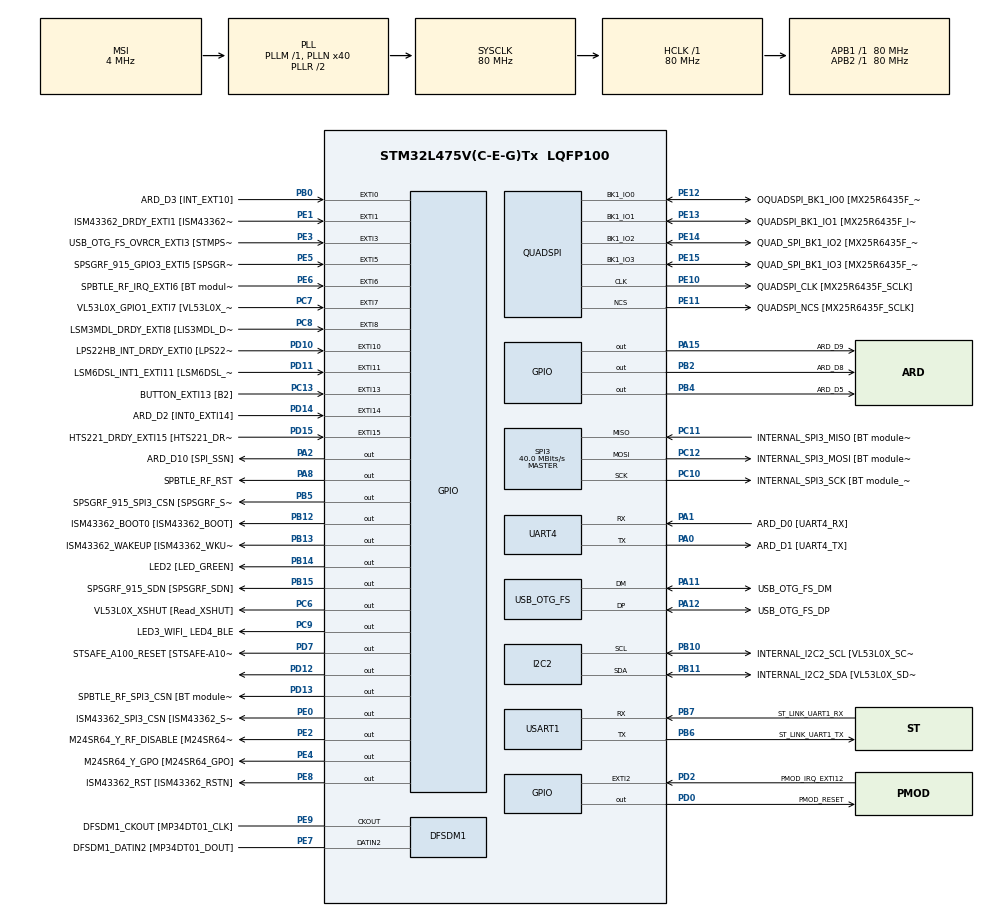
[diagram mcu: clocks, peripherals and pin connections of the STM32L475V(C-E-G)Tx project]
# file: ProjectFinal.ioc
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FREERTOS.BinarySemaphores01=mySem01,Dynamic,NULL,Depleted
FREERTOS.Queues01=StateQueue,16,uint32_t,0,Dynamic,NULL,NULL
FREERTOS.Tasks01=defaultTask,24,250,StartDefaultTask,Default,NULL,Dynamic,NULL,NULL;HandlerTask1,24,180,vHandlerTask,Default,NULL,Dynamic,NULL,NULL;ArmedTask,32,512,StartArmed,Default,NULL,Dynamic,NULL,NULL;AlarmTask,47,512,StartAlarm,Default,NULL,Dynamic,NULL,NULL
FREERTOS.configTOTAL_HEAP_SIZE=9000
Mcu.Family=STM32L4
Mcu.Name=STM32L475V(C-E-G)Tx
Mcu.Package=LQFP100
NVIC.EXTI15_10_IRQn=true\:5\:0\:false\:false\:true\:true\:true\:true\:true
NVIC.EXTI1_IRQn=true\:5\:0\:false\:false\:true\:true\:true\:true\:true
NVIC.EXTI9_5_IRQn=true\:5\:0\:false\:false\:true\:true\:true\:true\:true
NVIC.PriorityGroup=NVIC_PRIORITYGROUP_4
NVIC.TIM1_UP_TIM16_IRQn=true\:5\:0\:false\:false\:true\:true\:true\:true\:true
NVIC.TIM6_DAC_IRQn=true\:15\:0\:false\:false\:true\:false\:false\:true\:true
NVIC.TimeBase=TIM6_DAC_IRQn
NVIC.TimeBaseIP=TIM6
NVIC.USART1_IRQn=true\:5\:0\:false\:false\:true\:true\:true\:true\:true
PA0.GPIO_Label=ARD_D1 [UART4_TX]
PA0.Mode=Asynchronous
PA0.Signal=UART4_TX
PA1.GPIO_Label=ARD_D0 [UART4_RX]
PA1.Mode=Asynchronous
PA1.Signal=UART4_RX
PA10.GPIO_Label=USB_OTG_FS_ID
PA10.Signal=USB_OTG_FS_ID
PA11.GPIO_Label=USB_OTG_FS_DM
PA11.Mode=Device_Only
PA11.Signal=USB_OTG_FS_DM
PA12.GPIO_Label=USB_OTG_FS_DP
PA12.Mode=Device_Only
PA12.Signal=USB_OTG_FS_DP
PA13\ (JTMS-SWDIO).GPIO_Label=SYS_JTMS_SWDIO
PA13\ (JTMS-SWDIO).Mode=Trace_Asynchronous_SW
PA13\ (JTMS-SWDIO).Signal=SYS_JTMS-SWDIO
PA14\ (JTCK-SWCLK).GPIO_Label=SYS_JTCK_SWCLK
PA14\ (JTCK-SWCLK).Mode=Trace_Asynchronous_SW
PA14\ (JTCK-SWCLK).Signal=SYS_JTCK-SWCLK
PA15\ (JTDI).GPIO_Label=ARD_D9
PA15\ (JTDI).Signal=GPIO_Output
PA2.GPIO_Label=ARD_D10 [SPI_SSN]
PA2.Signal=GPIO_Output
PA3.GPIO_Label=ARD_D4
PA3.Signal=S_TIM2_CH4
PA4.GPIO_Label=ARD_D7
PA4.Signal=ADCx_IN9
PA5.GPIO_Label=ARD_D13 [SPI1_SCK]
PA5.Signal=SPI1_SCK
PA6.GPIO_Label=ARD_D12 [SPI1_MISO]
PA6.Signal=SPI1_MISO
PA7.GPIO_Label=ARD_D11 [SPI1_MOSI]
PA7.Signal=SPI1_MOSI
PA8.GPIO_Label=SPBTLE_RF_RST
PA8.Signal=GPIO_Output
PA9.GPIO_Label=USB_OTG_FS_VBUS [STMPS2141STR_OUT]
PA9.Signal=USB_OTG_FS_VBUS
PB0.GPIO_Label=ARD_D3 [INT_EXT10]
PB0.Signal=GPXTI0
PB1.GPIO_Label=ARD_D6 [ADC1_IN6]
PB1.Signal=ADCx_IN16
PB10.GPIO_Label=INTERNAL_I2C2_SCL [VL53L0X_SCL]
PB10.GPIO_Pu=GPIO_PULLUP
PB10.Mode=I2C
PB10.Signal=I2C2_SCL
PB11.GPIO_Label=INTERNAL_I2C2_SDA [VL53L0X_SDA]
PB11.GPIO_Pu=GPIO_PULLUP
PB11.Mode=I2C
PB11.Signal=I2C2_SDA
PB12.GPIO_Label=ISM43362_BOOT0 [ISM43362_BOOT]
PB12.Signal=GPIO_Output
PB13.GPIO_Label=ISM43362_WAKEUP [ISM43362_WKUP]
PB13.Signal=GPIO_Output
PB14.GPIO_Label=LED2 [LED_GREEN]
PB14.Signal=GPIO_Output
PB15.GPIO_Label=SPSGRF_915_SDN [SPSGRF_SDN]
PB15.Signal=GPIO_Output
PB2.GPIO_Label=ARD_D8
PB2.Signal=GPIO_Output
PB3\ (JTDO-TRACESWO).GPIO_Label=SYS_JTD0_SWO
PB3\ (JTDO-TRACESWO).Mode=Trace_Asynchronous_SW
PB3\ (JTDO-TRACESWO).Signal=SYS_JTDO-SWO
PB4\ (NJTRST).GPIO_Label=ARD_D5
PB4\ (NJTRST).Signal=GPIO_Output
PB5.GPIO_Label=SPSGRF_915_SPI3_CSN [SPSGRF_SPI_CS]
PB5.PinState=GPIO_PIN_SET
PB5.Signal=GPIO_Output
PB6.GPIO_Label=ST_LINK_UART1_TX
PB6.Mode=Asynchronous
PB6.Signal=USART1_TX
PB7.GPIO_Label=ST_LINK_UART1_RX
PB7.Mode=Asynchronous
PB7.Signal=USART1_RX
PB8.GPIO_Label=ARD_D15 [I2C1_SCL]
PB8.Signal=I2C1_SCL
PB9.GPIO_Label=ARD_D14 [I2C1_SDA]
PB9.Signal=I2C1_SDA
PC0.GPIO_Label=ARD_A5 [ADC]
PC0.Signal=ADCx_IN1
PC1.GPIO_Label=ARD_A4 [ADC]
PC1.Signal=ADCx_IN2
PC10.GPIO_Label=INTERNAL_SPI3_SCK [BT module_SPI_SCLK] [ISM43362_SCK]
PC10.Mode=Full_Duplex_Master
PC10.Signal=SPI3_SCK
PC11.GPIO_Label=INTERNAL_SPI3_MISO [BT module_SPI_MISO] [ISM43362_MISO]
PC11.Mode=Full_Duplex_Master
PC11.Signal=SPI3_MISO
PC12.GPIO_Label=INTERNAL_SPI3_MOSI [BT module_SPI_MOSI] [ISM43362_MOSI]
PC12.Mode=Full_Duplex_Master
PC12.Signal=SPI3_MOSI
PC13.GPIO_Label=BUTTON_EXTI13 [B2]
PC13.GPIO_ModeDefaultEXTI=GPIO_MODE_IT_FALLING
PC13.Signal=GPXTI13
PC14-OSC32_IN\ (PC14).Mode=LSE-External-Oscillator
PC14-OSC32_IN\ (PC14).Signal=RCC_OSC32_IN
PC15-OSC32_OUT\ (PC15).Mode=LSE-External-Oscillator
PC15-OSC32_OUT\ (PC15).Signal=RCC_OSC32_OUT
PC2.GPIO_Label=ARD_A3 [ADC]
PC2.Signal=ADCx_IN3
PC3.GPIO_Label=ARD_A2 [ADC]
PC3.Signal=ADCx_IN4
PC4.GPIO_Label=ARD_A1 [ADC]
PC4.Signal=ADCx_IN13
PC5.GPIO_Label=ARD_A0 [ADC]
PC5.Signal=ADCx_IN14
PC6.GPIO_Label=VL53L0X_XSHUT [Read_XSHUT]
PC6.Signal=GPIO_Output
PC7.GPIO_Label=VL53L0X_GPIO1_EXTI7 [VL53L0X_GPIO1]
PC7.Signal=GPXTI7
PC8.GPIO_Label=LSM3MDL_DRDY_EXTI8 [LIS3MDL_DRDY]
PC8.Signal=GPXTI8
PC9.GPIO_Label=LED3_WIFI_ LED4_BLE
PC9.Signal=GPIO_Output
PD0.GPIO_Label=PMOD_RESET
PD0.Signal=GPIO_Output
PD1.GPIO_Label=PMOD_SPI2_SCK
PD1.Signal=SPI2_SCK
PD10.GPIO_Label=LPS22HB_INT_DRDY_EXTI0 [LPS22HB_INT_DRDY] 
PD10.Signal=GPXTI10
PD11.GPIO_Label=LSM6DSL_INT1_EXTI11 [LSM6DSL_INT1]
PD11.Signal=GPXTI11
PD12.Signal=GPIO_Output
PD13.GPIO_Label=SPBTLE_RF_SPI3_CSN [BT module_SPI_CS]
PD13.PinState=GPIO_PIN_SET
PD13.Signal=GPIO_Output
PD14.GPIO_Label=ARD_D2 [INT0_EXTI14]
PD14.Signal=GPXTI14
PD15.GPIO_Label=HTS221_DRDY_EXTI15 [HTS221_DRDY]
PD15.Signal=GPXTI15
PD2.GPIO_Label=PMOD_IRQ_EXTI12
PD2.Signal=GPXTI2
PD3.GPIO_Label=PMOD_UART2_CTS
PD3.Signal=USART2_CTS
PD4.GPIO_Label=PMOD_UART2_RTS
PD4.Signal=USART2_RTS
PD5.GPIO_Label=PMOD_UART2_TX
PD5.Signal=USART2_TX
PD6.GPIO_Label=PMOD_UART2_RX
PD6.Signal=USART2_RX
PD7.GPIO_Label=STSAFE_A100_RESET [STSAFE-A100_RESET]
PD7.Signal=GPIO_Output
PD8.GPIO_Label=INTERNAL_UART3_TX [ISM43362_RX]
PD8.Signal=USART3_TX
PD9.GPIO_Label=INTERNAL_UART3_RX [ISM43362_TX]
PD9.Signal=USART3_RX
PE0.GPIO_Label=ISM43362_SPI3_CSN [ISM43362_SSN]
PE0.PinState=GPIO_PIN_SET
PE0.Signal=GPIO_Output
PE1.GPIO_Label=ISM43362_DRDY_EXTI1 [ISM43362_DATARDY]
PE1.Signal=GPXTI1
PE10.GPIO_Label=QUADSPI_CLK [MX25R6435F_SCLK]
PE10.Mode=Single Bank
PE10.Signal=QUADSPI_CLK
PE11.GPIO_Label=QUADSPI_NCS [MX25R6435F_SCLK]
PE11.Mode=Single Bank
PE11.Signal=QUADSPI_NCS
PE12.GPIO_Label=OQUADSPI_BK1_IO0 [MX25R6435F_IO0]
PE12.Mode=Single Bank
PE12.Signal=QUADSPI_BK1_IO0
PE13.GPIO_Label=QUADSPI_BK1_IO1 [MX25R6435F_IO1]
PE13.Mode=Single Bank
PE13.Signal=QUADSPI_BK1_IO1
PE14.GPIO_Label=QUAD_SPI_BK1_IO2 [MX25R6435F_IO2]
PE14.Mode=Single Bank
PE14.Signal=QUADSPI_BK1_IO2
PE15.GPIO_Label=QUAD_SPI_BK1_IO3 [MX25R6435F_IO3]
PE15.Mode=Single Bank
PE15.Signal=QUADSPI_BK1_IO3
PE2.GPIO_Label=M24SR64_Y_RF_DISABLE [M24SR64_RFDIS]
PE2.Signal=GPIO_Output
PE3.GPIO_Label=USB_OTG_FS_OVRCR_EXTI3 [STMPS2141STR_FAULT]
PE3.Signal=GPXTI3
PE4.GPIO_Label=M24SR64_Y_GPO [M24SR64_GPO]
PE4.Signal=GPIO_Output
PE5.GPIO_Label=SPSGRF_915_GPIO3_EXTI5 [SPSGRF_GPIO_3]
PE5.Signal=GPXTI5
PE6.GPIO_Label=SPBTLE_RF_IRQ_EXTI6 [BT module_SPI_IRQ]
PE6.Signal=GPXTI6
PE7.GPIO_Label=DFSDM1_DATIN2 [MP34DT01_DOUT]
PE7.Signal=S_DATAIN2DFSDM1
PE8.GPIO_Label=ISM43362_RST [ISM43362_RSTN]
PE8.Signal=GPIO_Output
PE9.GPIO_Label=DFSDM1_CKOUT [MP34DT01_CLK]
PE9.Signal=S_CKOUTDFSDM1
ProjectManager.HeapSize=0x200
ProjectManager.StackSize=0x400
ProjectManager.TargetToolchain=STM32CubeIDE
QUADSPI.ClockPrescaler=2
QUADSPI.FifoThreshold=4
QUADSPI.FlashSize=23
QUADSPI.SampleShifting=QSPI_SAMPLE_SHIFTING_HALFCYCLE
RCC.ADCFreq_Value=48000000
RCC.AHBFreq_Value=80000000
RCC.APB1Freq_Value=80000000
RCC.APB1TimFreq_Value=80000000
RCC.APB2Freq_Value=80000000
RCC.APB2TimFreq_Value=80000000
RCC.CortexFreq_Value=80000000
RCC.HCLKFreq_Value=80000000
RCC.HSE_VALUE=8000000
RCC.HSI_VALUE=16000000
RCC.MSI_VALUE=4000000
RCC.PLLN=40
RCC.PLLSAI1N=24
RCC.SYSCLKFreq_VALUE=80000000
RCC.SYSCLKSource=RCC_SYSCLKSOURCE_PLLCLK
RCC.USBFreq_Value=48000000
RCC.VCOOutputFreq_Value=160000000
SH.ADCx_IN1.0=ADC1_IN1
SH.ADCx_IN13.0=ADC1_IN13
SH.ADCx_IN14.0=ADC1_IN14
SH.ADCx_IN16.0=ADC1_IN16
SH.ADCx_IN2.0=ADC1_IN2
SH.ADCx_IN3.0=ADC1_IN3
SH.ADCx_IN4.0=ADC1_IN4
SH.ADCx_IN9.0=ADC1_IN9
SH.S_CKOUTDFSDM1.0=DFSDM1_CKOUT,CKOUT
SH.S_CKOUTDFSDM1.1=DFSDM1_CKOUT,PDM_SPI_Input_from_ch12_and_Internal_Clock
SH.S_DATAIN2DFSDM1.0=DFSDM1_DATIN2,PDM_SPI_Input_from_ch12_and_Internal_Clock
SH.S_TIM2_CH4.0=TIM2_CH4
SPI3.CalculateBaudRate=40.0 MBits/s
SPI3.Direction=SPI_DIRECTION_2LINES
SPI3.Mode=SPI_MODE_MASTER
SPI3.VirtualType=VM_MASTER
TIM16.Period=10000-1
TIM16.Prescaler=8000-1
TIM4.Channel-PWM\ Generation1\ No\ Output=TIM_CHANNEL_1
TIM4.Period=10000-1
TIM4.Prescaler=8000-1
USART1.VirtualMode-Asynchronous=VM_ASYNC
USB_OTG_FS.VirtualMode=Device_Only
VP_FREERTOS_VS_CMSIS_V2.Mode=CMSIS_V2
VP_SYS_VS_tim6.Mode=TIM6
VP_TIM16_VS_ClockSourceINT.Mode=Enable_Timer
VP_TIM4_VS_no_output1.Mode=PWM Generation1 No Output
board=B-L475E-IOT01A1

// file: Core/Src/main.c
/* USER CODE BEGIN Header */
/**
  ******************************************************************************
  * @file           : main.c
  * @brief          : Main program body
  ******************************************************************************
  * @attention
  *
  * Copyright (c) 2024 STMicroelectronics.
  * All rights reserved.
  *
  * This software is licensed under terms that can be found in the LICENSE file
  * in the root directory of this software component.
  * If no LICENSE file comes with this software, it is provided AS-IS.
  *
  ******************************************************************************
  */
/* USER CODE END Header */
#include "main.h"
#include "cmsis_os.h"

/* USER CODE BEGIN Includes */
#include "semphr.h"
#include "queue.h"
#include "stm32l475e_iot01_hsensor.h"
#include "stm32l475e_iot01_tsensor.h"
#include "stm32l475e_iot01_accelero.h"
#include <stdio.h>
#include <stdlib.h>
#include <stdint.h>
#include <math.h>
#include <string.h>
/* USER CODE END Includes */

DFSDM_Channel_HandleTypeDef hdfsdm1_channel1;

I2C_HandleTypeDef hi2c2;

QSPI_HandleTypeDef hqspi;

SPI_HandleTypeDef hspi3;

TIM_HandleTypeDef htim4;
TIM_HandleTypeDef htim16;

UART_HandleTypeDef huart4;
UART_HandleTypeDef huart1;

PCD_HandleTypeDef hpcd_USB_OTG_FS;

/* Definitions for defaultTask */
osThreadId_t defaultTaskHandle;
const osThreadAttr_t defaultTask_attributes = {
  .name = "defaultTask",
  .stack_size = 250 * 4,
  .priority = (osPriority_t) osPriorityNormal,
};
/* Definitions for HandlerTask1 */
osThreadId_t HandlerTask1Handle;
const osThreadAttr_t HandlerTask1_attributes = {
  .name = "HandlerTask1",
  .stack_size = 180 * 4,
  .priority = (osPriority_t) osPriorityNormal,
};
/* Definitions for ArmedTask */
osThreadId_t ArmedTaskHandle;
const osThreadAttr_t ArmedTask_attributes = {
  .name = "ArmedTask",
  .stack_size = 512 * 4,
  .priority = (osPriority_t) osPriorityAboveNormal,
};
/* Definitions for AlarmTask */
osThreadId_t AlarmTaskHandle;
const osThreadAttr_t AlarmTask_attributes = {
  .name = "AlarmTask",
  .stack_size = 512 * 4,
  .priority = (osPriority_t) osPriorityHigh7,
};
/* Definitions for StateQueue */
osMessageQueueId_t StateQueueHandle;
const osMessageQueueAttr_t StateQueue_attributes = {
  .name = "StateQueue"
};
/* Definitions for mySem01 */
osSemaphoreId_t mySem01Handle;
const osSemaphoreAttr_t mySem01_attributes = {
  .name = "mySem01"
};
/* USER CODE BEGIN PV */
QueueHandle_t FRQueueHandle;
#define CORRECT_CODE "1234"
#define TOLERANCE 300
#define REPS 7
SemaphoreHandle_t xBinarySemaphore1; //FreeRTOS Semaphore
typedef enum {
	DISARMED,
	ARMED,
	ALARM,
	SIREN
} State;
volatile State state = DISARMED;
int16_t XYZ[3] = {0};
int16_t pDataXYZ[3] = {0};

char *ModelSet[7] = {};
char *CloneModelSet[7] = {};
ACCELERO_StatusTypeDef accStatus;
int x = 0;
int y = 0;
int z = 0;
char DisplayUART[20] = {};
uint32_t pwm_duty_cycle = 50;
uint32_t message = 1;
typedef struct {
  uint8_t Buf[32];
  uint8_t Idx;
} MsgQueue;
/* USER CODE END PV */

void SystemClock_Config(void);
static void MX_GPIO_Init(void);
static void MX_DFSDM1_Init(void);
static void MX_I2C2_Init(void);
static void MX_QUADSPI_Init(void);
static void MX_USB_OTG_FS_PCD_Init(void);
static void MX_TIM16_Init(void);
static void MX_USART1_UART_Init(void);
static void MX_SPI3_Init(void);
static void MX_UART4_Init(void);
static void MX_TIM4_Init(void);
void StartDefaultTask(void *argument);
void vHandlerTask(void *argument);
void StartArmed(void *argument);
void StartAlarm(void *argument);

/* USER CODE BEGIN PFP */
void vHandlerTask(void *pvParameters );
void ToggleState(int breachFlag);
static WIFI_Status_t SendWebPageUpdate(State myState);
/* USER CODE END PFP */

/* USER CODE BEGIN 0 */
const char* stateToString(State state) {
    switch (state) {
        case DISARMED:
            return "DISARMED";
        case ARMED:
            return "ARMED";
        case ALARM:
            return "ALARM";
        case SIREN:
        	return "SIREN";
        default:
            return "UNKNOWN";
    }
}

int _write(int file, char *ptr, int len) {
	for (int i = 0; i < len; i++) {
		ITM_SendChar((*ptr++));
	}
	return len;
}

/* Private defines -----------------------------------------------------------*/
/* Update SSID and PASSWORD with own Access point settings */
#define SSID     "The_Driving_Crooner"
#define PASSWORD "WarmDoll620!"
#define PORT           80

#define TERMINAL_USE

#define WIFI_WRITE_TIMEOUT 10000
#define WIFI_READ_TIMEOUT  10000
#define SOCKET                 0

#ifdef  TERMINAL_USE
#define LOG(a) printf a
#else
#define LOG(a)
#endif

/* Private typedef------------------------------------------------------------*/
/* Private macro -------------------------------------------------------------*/
/* Private variables ---------------------------------------------------------*/
//#if defined (TERMINAL_USE)
// UART_HandleTypeDef huart1;
//#endif /* TERMINAL_USE */

static  uint8_t http[1024];
static  uint8_t  IP_Addr[4];
static  int     LedState = 0;

/* Private function prototypes -----------------------------------------------*/
#if defined (TERMINAL_USE)
#ifdef __GNUC__
/* With GCC, small printf (option LD Linker->Libraries->Small printf
   set to 'Yes') calls __io_putchar() */
#define PUTCHAR_PROTOTYPE int __io_putchar(int ch)
#else
#define PUTCHAR_PROTOTYPE int fputc(int ch, FILE *f)
#endif /* __GNUC__ */
#endif /* TERMINAL_USE */

//void SystemClock_Config(void);
static  WIFI_Status_t SendWebPage(uint8_t ledIsOn, uint8_t temperature);
static  int wifi_server(void);
static  int wifi_start(void);
static  int wifi_connect(void);
static  bool WebServerProcess(void);
static 	bool WebServerProcessUpdate(void);

/* USER CODE END 0 */

int main(void)
{

  /* MCU Configuration--------------------------------------------------------*/

  /* Reset of all peripherals, Initializes the Flash interface and the Systick. */
  HAL_Init();

  /* Configure the system clock */
  SystemClock_Config();

  /* Initialize all configured peripherals */
  MX_GPIO_Init();
  MX_DFSDM1_Init();
  MX_I2C2_Init();
  MX_QUADSPI_Init();
  MX_USB_OTG_FS_PCD_Init();
  MX_TIM16_Init();
  MX_USART1_UART_Init();
  MX_SPI3_Init();
  MX_UART4_Init();
  MX_TIM4_Init();
  /* USER CODE BEGIN 2 */
  HAL_TIM_Base_Start_IT(&htim16);
  BSP_ACCELERO_Init();

  /* USER CODE END 2 */

  /* Init scheduler */
  osKernelInitialize();

  /* Create the semaphores(s) */
  /* creation of mySem01 */
  mySem01Handle = osSemaphoreNew(1, 0, &mySem01_attributes);

  /* USER CODE BEGIN RTOS_SEMAPHORES */
  /* add semaphores, ... */
  if (mySem01Handle == NULL) {
      printf("Semaphore creation failed!\n");
  }
  xBinarySemaphore1 = xSemaphoreCreateBinary();
  if (xBinarySemaphore1 == NULL) {
          printf("Semaphore creation failed!\n");
  }
  /* USER CODE END RTOS_SEMAPHORES */

  /* Create the queue(s) */
  /* creation of StateQueue */
  StateQueueHandle = osMessageQueueNew (16, sizeof(MsgQueue), &StateQueue_attributes);

  /* USER CODE BEGIN RTOS_QUEUES */
  /* add queues, ... */
  FRQueueHandle = xQueueCreate(10, sizeof(unsigned long));
      if (FRQueueHandle == NULL) {
          // Error handling if the queue creation fails
          printf("Error: Queue creation failed!\n");
          while(1); // Hang here to check the issue
      }
  /* USER CODE END RTOS_QUEUES */

  /* Create the thread(s) */
  /* creation of defaultTask */
  defaultTaskHandle = osThreadNew(StartDefaultTask, NULL, &defaultTask_attributes);

  /* creation of HandlerTask1 */
  HandlerTask1Handle = osThreadNew(vHandlerTask, NULL, &HandlerTask1_attributes);

  /* creation of ArmedTask */
  ArmedTaskHandle = osThreadNew(StartArmed, NULL, &ArmedTask_attributes);

  /* creation of AlarmTask */
  AlarmTaskHandle = osThreadNew(StartAlarm, NULL, &AlarmTask_attributes);

  /* Start scheduler */
  osKernelStart();

  /* We should never get here as control is now taken by the scheduler */

  /* Infinite loop */
  while (1)
  {

  }
}

void SystemClock_Config(void)
{
  RCC_OscInitTypeDef RCC_OscInitStruct = {0};
  RCC_ClkInitTypeDef RCC_ClkInitStruct = {0};

  /** Configure the main internal regulator output voltage
  */
  if (HAL_PWREx_ControlVoltageScaling(PWR_REGULATOR_VOLTAGE_SCALE1) != HAL_OK)
  {
    Error_Handler();
  }

  /** Configure LSE Drive Capability
  */
  HAL_PWR_EnableBkUpAccess();
  __HAL_RCC_LSEDRIVE_CONFIG(RCC_LSEDRIVE_LOW);

  /** Initializes the RCC Oscillators according to the specified parameters
  * in the RCC_OscInitTypeDef structure.
  */
  RCC_OscInitStruct.OscillatorType = RCC_OSCILLATORTYPE_LSE|RCC_OSCILLATORTYPE_MSI;
  RCC_OscInitStruct.LSEState = RCC_LSE_ON;
  RCC_OscInitStruct.MSIState = RCC_MSI_ON;
  RCC_OscInitStruct.MSICalibrationValue = 0;
  RCC_OscInitStruct.MSIClockRange = RCC_MSIRANGE_6;
  RCC_OscInitStruct.PLL.PLLState = RCC_PLL_ON;
  RCC_OscInitStruct.PLL.PLLSource = RCC_PLLSOURCE_MSI;
  RCC_OscInitStruct.PLL.PLLM = 1;
  RCC_OscInitStruct.PLL.PLLN = 40;
  RCC_OscInitStruct.PLL.PLLP = RCC_PLLP_DIV7;
  RCC_OscInitStruct.PLL.PLLQ = RCC_PLLQ_DIV2;
  RCC_OscInitStruct.PLL.PLLR = RCC_PLLR_DIV2;
  if (HAL_RCC_OscConfig(&RCC_OscInitStruct) != HAL_OK)
  {
    Error_Handler();
  }

  /** Initializes the CPU, AHB and APB buses clocks
  */
  RCC_ClkInitStruct.ClockType = RCC_CLOCKTYPE_HCLK|RCC_CLOCKTYPE_SYSCLK
                              |RCC_CLOCKTYPE_PCLK1|RCC_CLOCKTYPE_PCLK2;
  RCC_ClkInitStruct.SYSCLKSource = RCC_SYSCLKSOURCE_PLLCLK;
  RCC_ClkInitStruct.AHBCLKDivider = RCC_SYSCLK_DIV1;
  RCC_ClkInitStruct.APB1CLKDivider = RCC_HCLK_DIV1;
  RCC_ClkInitStruct.APB2CLKDivider = RCC_HCLK_DIV1;

  if (HAL_RCC_ClockConfig(&RCC_ClkInitStruct, FLASH_LATENCY_4) != HAL_OK)
  {
    Error_Handler();
  }

  /** Enable MSI Auto calibration
  */
  HAL_RCCEx_EnableMSIPLLMode();
}

static void MX_DFSDM1_Init(void)
{

  hdfsdm1_channel1.Instance = DFSDM1_Channel1;
  hdfsdm1_channel1.Init.OutputClock.Activation = ENABLE;
  hdfsdm1_channel1.Init.OutputClock.Selection = DFSDM_CHANNEL_OUTPUT_CLOCK_SYSTEM;
  hdfsdm1_channel1.Init.OutputClock.Divider = 2;
  hdfsdm1_channel1.Init.Input.Multiplexer = DFSDM_CHANNEL_EXTERNAL_INPUTS;
  hdfsdm1_channel1.Init.Input.DataPacking = DFSDM_CHANNEL_STANDARD_MODE;
  hdfsdm1_channel1.Init.Input.Pins = DFSDM_CHANNEL_FOLLOWING_CHANNEL_PINS;
  hdfsdm1_channel1.Init.SerialInterface.Type = DFSDM_CHANNEL_SPI_RISING;
  hdfsdm1_channel1.Init.SerialInterface.SpiClock = DFSDM_CHANNEL_SPI_CLOCK_INTERNAL;
  hdfsdm1_channel1.Init.Awd.FilterOrder = DFSDM_CHANNEL_FASTSINC_ORDER;
  hdfsdm1_channel1.Init.Awd.Oversampling = 1;
  hdfsdm1_channel1.Init.Offset = 0;
  hdfsdm1_channel1.Init.RightBitShift = 0x00;
  if (HAL_DFSDM_ChannelInit(&hdfsdm1_channel1) != HAL_OK)
  {
    Error_Handler();
  }

}

static void MX_I2C2_Init(void)
{

  hi2c2.Instance = I2C2;
  hi2c2.Init.Timing = 0x00000E14;
  hi2c2.Init.OwnAddress1 = 0;
  hi2c2.Init.AddressingMode = I2C_ADDRESSINGMODE_7BIT;
  hi2c2.Init.DualAddressMode = I2C_DUALADDRESS_DISABLE;
  hi2c2.Init.OwnAddress2 = 0;
  hi2c2.Init.OwnAddress2Masks = I2C_OA2_NOMASK;
  hi2c2.Init.GeneralCallMode = I2C_GENERALCALL_DISABLE;
  hi2c2.Init.NoStretchMode = I2C_NOSTRETCH_DISABLE;
  if (HAL_I2C_Init(&hi2c2) != HAL_OK)
  {
    Error_Handler();
  }

  /** Configure Analogue filter
  */
  if (HAL_I2CEx_ConfigAnalogFilter(&hi2c2, I2C_ANALOGFILTER_ENABLE) != HAL_OK)
  {
    Error_Handler();
  }

  /** Configure Digital filter
  */
  if (HAL_I2CEx_ConfigDigitalFilter(&hi2c2, 0) != HAL_OK)
  {
    Error_Handler();
  }

}

static void MX_QUADSPI_Init(void)
{

  /* QUADSPI parameter configuration*/
  hqspi.Instance = QUADSPI;
  hqspi.Init.ClockPrescaler = 2;
  hqspi.Init.FifoThreshold = 4;
  hqspi.Init.SampleShifting = QSPI_SAMPLE_SHIFTING_HALFCYCLE;
  hqspi.Init.FlashSize = 23;
  hqspi.Init.ChipSelectHighTime = QSPI_CS_HIGH_TIME_1_CYCLE;
  hqspi.Init.ClockMode = QSPI_CLOCK_MODE_0;
  if (HAL_QSPI_Init(&hqspi) != HAL_OK)
  {
    Error_Handler();
  }

}

static void MX_SPI3_Init(void)
{

  /* SPI3 parameter configuration*/
  hspi3.Instance = SPI3;
  hspi3.Init.Mode = SPI_MODE_MASTER;
  hspi3.Init.Direction = SPI_DIRECTION_2LINES;
  hspi3.Init.DataSize = SPI_DATASIZE_4BIT;
  hspi3.Init.CLKPolarity = SPI_POLARITY_LOW;
  hspi3.Init.CLKPhase = SPI_PHASE_1EDGE;
  hspi3.Init.NSS = SPI_NSS_SOFT;
  hspi3.Init.BaudRatePrescaler = SPI_BAUDRATEPRESCALER_2;
  hspi3.Init.FirstBit = SPI_FIRSTBIT_MSB;
  hspi3.Init.TIMode = SPI_TIMODE_DISABLE;
  hspi3.Init.CRCCalculation = SPI_CRCCALCULATION_DISABLE;
  hspi3.Init.CRCPolynomial = 7;
  hspi3.Init.CRCLength = SPI_CRC_LENGTH_DATASIZE;
  hspi3.Init.NSSPMode = SPI_NSS_PULSE_ENABLE;
  if (HAL_SPI_Init(&hspi3) != HAL_OK)
  {
    Error_Handler();
  }

}

static void MX_TIM4_Init(void)
{

  TIM_MasterConfigTypeDef sMasterConfig = {0};
  TIM_OC_InitTypeDef sConfigOC = {0};

  htim4.Instance = TIM4;
  htim4.Init.Prescaler = 8000-1;
  htim4.Init.CounterMode = TIM_COUNTERMODE_UP;
  htim4.Init.Period = 10000-1;
  htim4.Init.ClockDivision = TIM_CLOCKDIVISION_DIV1;
  htim4.Init.AutoReloadPreload = TIM_AUTORELOAD_PRELOAD_DISABLE;
  if (HAL_TIM_PWM_Init(&htim4) != HAL_OK)
  {
    Error_Handler();
  }
  sMasterConfig.MasterOutputTrigger = TIM_TRGO_RESET;
  sMasterConfig.MasterSlaveMode = TIM_MASTERSLAVEMODE_DISABLE;
  if (HAL_TIMEx_MasterConfigSynchronization(&htim4, &sMasterConfig) != HAL_OK)
  {
    Error_Handler();
  }
  sConfigOC.OCMode = TIM_OCMODE_PWM1;
  sConfigOC.Pulse = 0;
  sConfigOC.OCPolarity = TIM_OCPOLARITY_HIGH;
  sConfigOC.OCFastMode = TIM_OCFAST_DISABLE;
  if (HAL_TIM_PWM_ConfigChannel(&htim4, &sConfigOC, TIM_CHANNEL_1) != HAL_OK)
  {
    Error_Handler();
  }

}

static void MX_TIM16_Init(void)
{

  htim16.Instance = TIM16;
  htim16.Init.Prescaler = 8000-1;
  htim16.Init.CounterMode = TIM_COUNTERMODE_UP;
  htim16.Init.Period = 10000-1;
  htim16.Init.ClockDivision = TIM_CLOCKDIVISION_DIV1;
  htim16.Init.RepetitionCounter = 0;
  htim16.Init.AutoReloadPreload = TIM_AUTORELOAD_PRELOAD_DISABLE;
  if (HAL_TIM_Base_Init(&htim16) != HAL_OK)
  {
    Error_Handler();
  }

}

static void MX_UART4_Init(void)
{

  huart4.Instance = UART4;
  huart4.Init.BaudRate = 115200;
  huart4.Init.WordLength = UART_WORDLENGTH_8B;
  huart4.Init.StopBits = UART_STOPBITS_1;
  huart4.Init.Parity = UART_PARITY_NONE;
  huart4.Init.Mode = UART_MODE_TX_RX;
  huart4.Init.HwFlowCtl = UART_HWCONTROL_NONE;
  huart4.Init.OverSampling = UART_OVERSAMPLING_16;
  huart4.Init.OneBitSampling = UART_ONE_BIT_SAMPLE_DISABLE;
  huart4.AdvancedInit.AdvFeatureInit = UART_ADVFEATURE_NO_INIT;
  if (HAL_UART_Init(&huart4) != HAL_OK)
  {
    Error_Handler();
  }

}

static void MX_USART1_UART_Init(void)
{

  huart1.Instance = USART1;
  huart1.Init.BaudRate = 115200;
  huart1.Init.WordLength = UART_WORDLENGTH_8B;
  huart1.Init.StopBits = UART_STOPBITS_1;
  huart1.Init.Parity = UART_PARITY_NONE;
  huart1.Init.Mode = UART_MODE_TX_RX;
  huart1.Init.HwFlowCtl = UART_HWCONTROL_NONE;
  huart1.Init.OverSampling = UART_OVERSAMPLING_16;
  huart1.Init.OneBitSampling = UART_ONE_BIT_SAMPLE_DISABLE;
  huart1.AdvancedInit.AdvFeatureInit = UART_ADVFEATURE_NO_INIT;
  if (HAL_UART_Init(&huart1) != HAL_OK)
  {
    Error_Handler();
  }

}

static void MX_USB_OTG_FS_PCD_Init(void)
{

  hpcd_USB_OTG_FS.Instance = USB_OTG_FS;
  hpcd_USB_OTG_FS.Init.dev_endpoints = 6;
  hpcd_USB_OTG_FS.Init.speed = PCD_SPEED_FULL;
  hpcd_USB_OTG_FS.Init.phy_itface = PCD_PHY_EMBEDDED;
  hpcd_USB_OTG_FS.Init.Sof_enable = DISABLE;
  hpcd_USB_OTG_FS.Init.low_power_enable = DISABLE;
  hpcd_USB_OTG_FS.Init.lpm_enable = DISABLE;
  hpcd_USB_OTG_FS.Init.battery_charging_enable = DISABLE;
  hpcd_USB_OTG_FS.Init.use_dedicated_ep1 = DISABLE;
  hpcd_USB_OTG_FS.Init.vbus_sensing_enable = DISABLE;
  if (HAL_PCD_Init(&hpcd_USB_OTG_FS) != HAL_OK)
  {
    Error_Handler();
  }

}

static void MX_GPIO_Init(void)
{
  GPIO_InitTypeDef GPIO_InitStruct = {0};

  /* GPIO Ports Clock Enable */
  __HAL_RCC_GPIOE_CLK_ENABLE();
  __HAL_RCC_GPIOC_CLK_ENABLE();
  __HAL_RCC_GPIOA_CLK_ENABLE();
  __HAL_RCC_GPIOB_CLK_ENABLE();
  __HAL_RCC_GPIOD_CLK_ENABLE();

  /*Configure GPIO pin Output Level */
  HAL_GPIO_WritePin(GPIOE, M24SR64_Y_RF_DISABLE_Pin|M24SR64_Y_GPO_Pin|ISM43362_RST_Pin, GPIO_PIN_RESET);

  /*Configure GPIO pin Output Level */
  HAL_GPIO_WritePin(GPIOA, ARD_D10_Pin|SPBTLE_RF_RST_Pin|ARD_D9_Pin, GPIO_PIN_RESET);

  /*Configure GPIO pin Output Level */
  HAL_GPIO_WritePin(GPIOB, ARD_D8_Pin|ISM43362_BOOT0_Pin|ISM43362_WAKEUP_Pin|LED2_Pin
                          |SPSGRF_915_SDN_Pin|ARD_D5_Pin, GPIO_PIN_RESET);

  /*Configure GPIO pin Output Level */
  HAL_GPIO_WritePin(GPIOD, GPIO_PIN_12|PMOD_RESET_Pin|STSAFE_A100_RESET_Pin, GPIO_PIN_RESET);

  /*Configure GPIO pin Output Level */
  HAL_GPIO_WritePin(SPBTLE_RF_SPI3_CSN_GPIO_Port, SPBTLE_RF_SPI3_CSN_Pin, GPIO_PIN_SET);

  /*Configure GPIO pin Output Level */
  HAL_GPIO_WritePin(GPIOC, VL53L0X_XSHUT_Pin|LED3_WIFI__LED4_BLE_Pin, GPIO_PIN_RESET);

  /*Configure GPIO pin Output Level */
  HAL_GPIO_WritePin(SPSGRF_915_SPI3_CSN_GPIO_Port, SPSGRF_915_SPI3_CSN_Pin, GPIO_PIN_SET);

  /*Configure GPIO pin Output Level */
  HAL_GPIO_WritePin(ISM43362_SPI3_CSN_GPIO_Port, ISM43362_SPI3_CSN_Pin, GPIO_PIN_SET);

  /*Configure GPIO pins : M24SR64_Y_RF_DISABLE_Pin M24SR64_Y_GPO_Pin ISM43362_RST_Pin ISM43362_SPI3_CSN_Pin */
  GPIO_InitStruct.Pin = M24SR64_Y_RF_DISABLE_Pin|M24SR64_Y_GPO_Pin|ISM43362_RST_Pin|ISM43362_SPI3_CSN_Pin;
  GPIO_InitStruct.Mode = GPIO_MODE_OUTPUT_PP;
  GPIO_InitStruct.Pull = GPIO_NOPULL;
  GPIO_InitStruct.Speed = GPIO_SPEED_FREQ_LOW;
  HAL_GPIO_Init(GPIOE, &GPIO_InitStruct);

  /*Configure GPIO pins : USB_OTG_FS_OVRCR_EXTI3_Pin SPSGRF_915_GPIO3_EXTI5_Pin SPBTLE_RF_IRQ_EXTI6_Pin ISM43362_DRDY_EXTI1_Pin */
  GPIO_InitStruct.Pin = USB_OTG_FS_OVRCR_EXTI3_Pin|SPSGRF_915_GPIO3_EXTI5_Pin|SPBTLE_RF_IRQ_EXTI6_Pin|ISM43362_DRDY_EXTI1_Pin;
  GPIO_InitStruct.Mode = GPIO_MODE_IT_RISING;
  GPIO_InitStruct.Pull = GPIO_NOPULL;
  HAL_GPIO_Init(GPIOE, &GPIO_InitStruct);

  /*Configure GPIO pin : BUTTON_EXTI13_Pin */
  GPIO_InitStruct.Pin = BUTTON_EXTI13_Pin;
  GPIO_InitStruct.Mode = GPIO_MODE_IT_FALLING;
  GPIO_InitStruct.Pull = GPIO_NOPULL;
  HAL_GPIO_Init(BUTTON_EXTI13_GPIO_Port, &GPIO_InitStruct);

  /*Configure GPIO pins : ARD_A5_Pin ARD_A4_Pin ARD_A3_Pin ARD_A2_Pin
                           ARD_A1_Pin ARD_A0_Pin */
  GPIO_InitStruct.Pin = ARD_A5_Pin|ARD_A4_Pin|ARD_A3_Pin|ARD_A2_Pin
                          |ARD_A1_Pin|ARD_A0_Pin;
  GPIO_InitStruct.Mode = GPIO_MODE_ANALOG_ADC_CONTROL;
  GPIO_InitStruct.Pull = GPIO_NOPULL;
  HAL_GPIO_Init(GPIOC, &GPIO_InitStruct);

  /*Configure GPIO pins : ARD_D10_Pin SPBTLE_RF_RST_Pin ARD_D9_Pin */
  GPIO_InitStruct.Pin = ARD_D10_Pin|SPBTLE_RF_RST_Pin|ARD_D9_Pin;
  GPIO_InitStruct.Mode = GPIO_MODE_OUTPUT_PP;
  GPIO_InitStruct.Pull = GPIO_NOPULL;
  GPIO_InitStruct.Speed = GPIO_SPEED_FREQ_LOW;
  HAL_GPIO_Init(GPIOA, &GPIO_InitStruct);

  /*Configure GPIO pin : ARD_D4_Pin */
  GPIO_InitStruct.Pin = ARD_D4_Pin;
  GPIO_InitStruct.Mode = GPIO_MODE_AF_PP;
  GPIO_InitStruct.Pull = GPIO_NOPULL;
  GPIO_InitStruct.Speed = GPIO_SPEED_FREQ_LOW;
  GPIO_InitStruct.Alternate = GPIO_AF1_TIM2;
  HAL_GPIO_Init(ARD_D4_GPIO_Port, &GPIO_InitStruct);

  /*Configure GPIO pin : ARD_D7_Pin */
  GPIO_InitStruct.Pin = ARD_D7_Pin;
  GPIO_InitStruct.Mode = GPIO_MODE_ANALOG_ADC_CONTROL;
  GPIO_InitStruct.Pull = GPIO_NOPULL;
  HAL_GPIO_Init(ARD_D7_GPIO_Port, &GPIO_InitStruct);

  /*Configure GPIO pins : ARD_D13_Pin ARD_D12_Pin ARD_D11_Pin */
  GPIO_InitStruct.Pin = ARD_D13_Pin|ARD_D12_Pin|ARD_D11_Pin;
  GPIO_InitStruct.Mode = GPIO_MODE_AF_PP;
  GPIO_InitStruct.Pull = GPIO_NOPULL;
  GPIO_InitStruct.Speed = GPIO_SPEED_FREQ_VERY_HIGH;
  GPIO_InitStruct.Alternate = GPIO_AF5_SPI1;
  HAL_GPIO_Init(GPIOA, &GPIO_InitStruct);

  /*Configure GPIO pin : ARD_D3_Pin */
  GPIO_InitStruct.Pin = ARD_D3_Pin;
  GPIO_InitStruct.Mode = GPIO_MODE_IT_RISING;
  GPIO_InitStruct.Pull = GPIO_NOPULL;
  HAL_GPIO_Init(ARD_D3_GPIO_Port, &GPIO_InitStruct);

  /*Configure GPIO pin : ARD_D6_Pin */
  GPIO_InitStruct.Pin = ARD_D6_Pin;
  GPIO_InitStruct.Mode = GPIO_MODE_ANALOG_ADC_CONTROL;
  GPIO_InitStruct.Pull = GPIO_NOPULL;
  HAL_GPIO_Init(ARD_D6_GPIO_Port, &GPIO_InitStruct);

  /*Configure GPIO pins : ARD_D8_Pin ISM43362_BOOT0_Pin ISM43362_WAKEUP_Pin LED2_Pin
                           SPSGRF_915_SDN_Pin ARD_D5_Pin SPSGRF_915_SPI3_CSN_Pin */
  GPIO_InitStruct.Pin = ARD_D8_Pin|ISM43362_BOOT0_Pin|ISM43362_WAKEUP_Pin|LED2_Pin
                          |SPSGRF_915_SDN_Pin|ARD_D5_Pin|SPSGRF_915_SPI3_CSN_Pin;
  GPIO_InitStruct.Mode = GPIO_MODE_OUTPUT_PP;
  GPIO_InitStruct.Pull = GPIO_NOPULL;
  GPIO_InitStruct.Speed = GPIO_SPEED_FREQ_LOW;
  HAL_GPIO_Init(GPIOB, &GPIO_InitStruct);

  /*Configure GPIO pins : INTERNAL_UART3_TX_Pin INTERNAL_UART3_RX_Pin */
  GPIO_InitStruct.Pin = INTERNAL_UART3_TX_Pin|INTERNAL_UART3_RX_Pin;
  GPIO_InitStruct.Mode = GPIO_MODE_AF_PP;
  GPIO_InitStruct.Pull = GPIO_NOPULL;
  GPIO_InitStruct.Speed = GPIO_SPEED_FREQ_VERY_HIGH;
  GPIO_InitStruct.Alternate = GPIO_AF7_USART3;
  HAL_GPIO_Init(GPIOD, &GPIO_InitStruct);

  /*Configure GPIO pins : LPS22HB_INT_DRDY_EXTI0_Pin LSM6DSL_INT1_EXTI11_Pin ARD_D2_Pin HTS221_DRDY_EXTI15_Pin
                           PMOD_IRQ_EXTI12_Pin */
  GPIO_InitStruct.Pin = LPS22HB_INT_DRDY_EXTI0_Pin|LSM6DSL_INT1_EXTI11_Pin|ARD_D2_Pin|HTS221_DRDY_EXTI15_Pin
                          |PMOD_IRQ_EXTI12_Pin;
  GPIO_InitStruct.Mode = GPIO_MODE_IT_RISING;
  GPIO_InitStruct.Pull = GPIO_NOPULL;
  HAL_GPIO_Init(GPIOD, &GPIO_InitStruct);

  /*Configure GPIO pins : PD12 SPBTLE_RF_SPI3_CSN_Pin PMOD_RESET_Pin STSAFE_A100_RESET_Pin */
  GPIO_InitStruct.Pin = GPIO_PIN_12|SPBTLE_RF_SPI3_CSN_Pin|PMOD_RESET_Pin|STSAFE_A100_RESET_Pin;
  GPIO_InitStruct.Mode = GPIO_MODE_OUTPUT_PP;
  GPIO_InitStruct.Pull = GPIO_NOPULL;
  GPIO_InitStruct.Speed = GPIO_SPEED_FREQ_LOW;
  HAL_GPIO_Init(GPIOD, &GPIO_InitStruct);

  /*Configure GPIO pins : VL53L0X_XSHUT_Pin LED3_WIFI__LED4_BLE_Pin */
  GPIO_InitStruct.Pin = VL53L0X_XSHUT_Pin|LED3_WIFI__LED4_BLE_Pin;
  GPIO_InitStruct.Mode = GPIO_MODE_OUTPUT_PP;
  GPIO_InitStruct.Pull = GPIO_NOPULL;
  GPIO_InitStruct.Speed = GPIO_SPEED_FREQ_LOW;
  HAL_GPIO_Init(GPIOC, &GPIO_InitStruct);

  /*Configure GPIO pins : VL53L0X_GPIO1_EXTI7_Pin LSM3MDL_DRDY_EXTI8_Pin */
  GPIO_InitStruct.Pin = VL53L0X_GPIO1_EXTI7_Pin|LSM3MDL_DRDY_EXTI8_Pin;
  GPIO_InitStruct.Mode = GPIO_MODE_IT_RISING;
  GPIO_InitStruct.Pull = GPIO_NOPULL;
  HAL_GPIO_Init(GPIOC, &GPIO_InitStruct);

  /*Configure GPIO pin : PMOD_SPI2_SCK_Pin */
  GPIO_InitStruct.Pin = PMOD_SPI2_SCK_Pin;
  GPIO_InitStruct.Mode = GPIO_MODE_AF_PP;
  GPIO_InitStruct.Pull = GPIO_NOPULL;
  GPIO_InitStruct.Speed = GPIO_SPEED_FREQ_VERY_HIGH;
  GPIO_InitStruct.Alternate = GPIO_AF5_SPI2;
  HAL_GPIO_Init(PMOD_SPI2_SCK_GPIO_Port, &GPIO_InitStruct);

  /*Configure GPIO pins : PMOD_UART2_CTS_Pin PMOD_UART2_RTS_Pin PMOD_UART2_TX_Pin PMOD_UART2_RX_Pin */
  GPIO_InitStruct.Pin = PMOD_UART2_CTS_Pin|PMOD_UART2_RTS_Pin|PMOD_UART2_TX_Pin|PMOD_UART2_RX_Pin;
  GPIO_InitStruct.Mode = GPIO_MODE_AF_PP;
  GPIO_InitStruct.Pull = GPIO_NOPULL;
  GPIO_InitStruct.Speed = GPIO_SPEED_FREQ_VERY_HIGH;
  GPIO_InitStruct.Alternate = GPIO_AF7_USART2;
  HAL_GPIO_Init(GPIOD, &GPIO_InitStruct);

  /*Configure GPIO pins : ARD_D15_Pin ARD_D14_Pin */
  GPIO_InitStruct.Pin = ARD_D15_Pin|ARD_D14_Pin;
  GPIO_InitStruct.Mode = GPIO_MODE_AF_OD;
  GPIO_InitStruct.Pull = GPIO_NOPULL;
  GPIO_InitStruct.Speed = GPIO_SPEED_FREQ_VERY_HIGH;
  GPIO_InitStruct.Alternate = GPIO_AF4_I2C1;
  HAL_GPIO_Init(GPIOB, &GPIO_InitStruct);

  /* EXTI interrupt init*/
  HAL_NVIC_SetPriority(EXTI1_IRQn, 5, 0);
  HAL_NVIC_EnableIRQ(EXTI1_IRQn);

  HAL_NVIC_SetPriority(EXTI9_5_IRQn, 5, 0);
  HAL_NVIC_EnableIRQ(EXTI9_5_IRQn);

  HAL_NVIC_SetPriority(EXTI15_10_IRQn, 5, 0);
  HAL_NVIC_EnableIRQ(EXTI15_10_IRQn);

}

/* USER CODE BEGIN 4 */
void HAL_GPIO_EXTI_Callback(uint16_t GPIO_Pin) {
	BaseType_t xHigherPriorityTaskWoken = pdFALSE;
	uint16_t stateData = 42;
	switch (GPIO_Pin)
	  {
	    case (GPIO_PIN_1):
	    {
	      SPI_WIFI_ISR();
	      break;
	    }
	    case (GPIO_PIN_13) :
		{
	    	printf("Button Pressed...\n");
	    	osSemaphoreRelease(mySem01Handle);
	    	portYIELD_FROM_ISR(xHigherPriorityTaskWoken);
	    	break;
	    }
	    default:
	    {
	      break;
	    }
	  }
}

void ToggleState(int breachFlag) {
	taskENTER_CRITICAL();
	if (state == DISARMED) { //ARM
		state = ARMED;
		HAL_GPIO_WritePin(GPIOB, GPIO_PIN_14, 1);
		printf("ARMED\n");
		taskEXIT_CRITICAL();
		//SendWebPageUpdate(state);
		//wifi_server();
		osThreadFlagsSet(ArmedTaskHandle, 0x0001);
	}
	else if (state == ARMED && !breachFlag) { //DISARM
		state = DISARMED;
		HAL_GPIO_WritePin(GPIOB, GPIO_PIN_14, 0);
		printf("DISARMED\n");
		taskEXIT_CRITICAL();
		//wifi_server();
	}
	else if (state == ARMED && breachFlag) {
		state = ALARM;
		printf("ALARM\n");
		taskEXIT_CRITICAL();
		//wifi_server();
	}
	else if (state == ALARM && !breachFlag) { //ALARM Passed
		state = ARMED;
		printf("ARMED\n");
		taskEXIT_CRITICAL();
		//wifi_server();
		osThreadFlagsSet(ArmedTaskHandle, 0x0001);
	}
	else if (state == ALARM && breachFlag) {
		state = SIREN;
		printf("SIREN");
		taskEXIT_CRITICAL();
	}
	osDelay(1);
}

void ActivateBuzzer(void)

{
    // Initialize PWM on PA5 using TIM2 Channel 1
    TIM_OC_InitTypeDef sConfigOC = {0};
    // Configure PWM
    HAL_TIM_PWM_Start(&htim4, TIM_CHANNEL_1); // Start PWM on Channel 1 (PA5)
// Set the duty cycle to control buzzer volume (0-100%)
    taskENTER_CRITICAL();
    sConfigOC.OCMode = TIM_OCMODE_PWM1;
    sConfigOC.Pulse = pwm_duty_cycle * (htim4.Init.Period / 100); // Set duty cycle
    sConfigOC.OCPolarity = TIM_OCPOLARITY_HIGH;
    HAL_TIM_PWM_ConfigChannel(&htim4, &sConfigOC, TIM_CHANNEL_1);
    taskEXIT_CRITICAL();
 // Run PWM for a set duration
    HAL_Delay(1000); // Example: 1 second buzzer activation
// Stop PWM after the buzzer has sounded
    HAL_TIM_PWM_Stop(&htim4, TIM_CHANNEL_1);
}

static int wifi_start(void)
{
  uint8_t  MAC_Addr[6];

 /*Initialize and use WIFI module */
  if(WIFI_Init() ==  WIFI_STATUS_OK)
  {
    printf("ES-WIFI Initialized.\n");
    if(WIFI_GetMAC_Address(MAC_Addr, sizeof(MAC_Addr)) == WIFI_STATUS_OK)
    {
      printf("> eS-WiFi module MAC Address : %02X:%02X:%02X:%02X:%02X:%02X\n",
               MAC_Addr[0],
               MAC_Addr[1],
               MAC_Addr[2],
               MAC_Addr[3],
               MAC_Addr[4],
               MAC_Addr[5]);
    }
    else
    {
      LOG(("> ERROR : CANNOT get MAC address\n"));
      return -1;
    }
  }
  else
  {
    return -1;
  }
  return 0;
}

int wifi_connect(void)
{

  wifi_start();

  printf("\nConnecting to %s , %s\n",SSID,PASSWORD);
  if( WIFI_Connect(SSID, PASSWORD, WIFI_ECN_WPA2_PSK) == WIFI_STATUS_OK)
  {
    if(WIFI_GetIP_Address(IP_Addr, sizeof(IP_Addr)) == WIFI_STATUS_OK)
    {
      LOG(("> es-wifi module connected: got IP Address : %d.%d.%d.%d\n",
               IP_Addr[0],
               IP_Addr[1],
               IP_Addr[2],
               IP_Addr[3]));

      int len = 100;
      uint8_t buffer[len];
      snprintf(buffer, sizeof(buffer), "es-wifi module connected: got IP Address : %d.%d.%d.%d\n", IP_Addr[0],
               IP_Addr[1],
               IP_Addr[2],
               IP_Addr[3] );
      buffer[len-1] = '\0';
      HAL_UART_Transmit(&huart1, buffer, strlen(buffer), 100);
    }
    else
    {
		  LOG((" ERROR : es-wifi module CANNOT get IP address\n"));
      return -1;
    }
  }
  else
  {
		 LOG(("ERROR : es-wifi module NOT connected\n"));
     return -1;
  }
  return 0;
}

int wifi_server(void)
{
  bool StopServer = false;

  LOG(("\nRunning HTML Server test\n"));
  if (wifi_connect()!=0) return -1;

  if (WIFI_STATUS_OK!=WIFI_StartServer(SOCKET, WIFI_TCP_PROTOCOL, 1, "", PORT))
  {
    LOG(("ERROR: Cannot start server.\n"));
  }

  LOG(("Server is running and waiting for an HTTP  Client connection to %d.%d.%d.%d\n",IP_Addr[0],IP_Addr[1],IP_Addr[2],IP_Addr[3]));

  do
  {
    uint8_t RemoteIP[4];
    uint16_t RemotePort;

    while (WIFI_STATUS_OK != WIFI_WaitServerConnection(SOCKET,1000,RemoteIP,sizeof(RemoteIP), &RemotePort))
    {
        LOG(("Waiting connection to  %d.%d.%d.%d\n",IP_Addr[0],IP_Addr[1],IP_Addr[2],IP_Addr[3]));

    }

    LOG(("Client connected %d.%d.%d.%d:%d\n",RemoteIP[0],RemoteIP[1],RemoteIP[2],RemoteIP[3],RemotePort));

    StopServer=WebServerProcessUpdate();

    if(WIFI_CloseServerConnection(SOCKET) != WIFI_STATUS_OK)
    {
      LOG(("ERROR: failed to close current Server connection\n"));
      return -1;
    }
  }
  while(StopServer == false);

  if (WIFI_STATUS_OK!=WIFI_StopServer(SOCKET))
  {
    LOG(("ERROR: Cannot stop server.\n"));
  }

  LOG(("Server is stop\n"));
  return 0;
}

static bool WebServerProcess(void)
{
  uint8_t temp;
  uint16_t  respLen;
  static   uint8_t resp[1024];
  uint16_t sentDataLen;
  uint16_t sendWordLen;
  static uint8_t sendWord[1024];
  bool    stopserver=false;

  if (WIFI_STATUS_OK == WIFI_ReceiveData(SOCKET, resp, 1000, &respLen, WIFI_READ_TIMEOUT))
  {
   LOG(("get %d byte from server\n",respLen));

   if( respLen > 0)
   {
      if(strstr((char *)resp, "GET")) /* GET: put web page */
      {
        //temp = (int) BSP_TSENSOR_ReadTemp();
        //if(SendWebPage(LedState, temp) != WIFI_STATUS_OK)
    	if(SendWebPageUpdate(state) != WIFI_STATUS_OK)
        {
          LOG(("> ERROR : Cannot send web page\n"));
        }
        else
        {
          LOG(("Send page after  GET command\n"));
        }
       }
       else if(strstr((char *)resp, "POST"))/* POST: received info */
       {
         LOG(("Post request\n"));

         if(strstr((char *)resp, "radio"))
         {
           if(strstr((char *)resp, "radio=0"))
           {
             LedState = 0;
            // BSP_LED_Off(LED2);
             HAL_GPIO_WritePin(GPIOB, GPIO_PIN_14, GPIO_PIN_RESET);

           }
           else if(strstr((char *)resp, "radio=1"))
           {
             LedState = 1;
             //BSP_LED_On(LED2);
             HAL_GPIO_WritePin(GPIOB, GPIO_PIN_14, GPIO_PIN_SET);
           }
           //temp = (int) BSP_TSENSOR_ReadTemp();
         }
         if(strstr((char *)resp, "stop_server"))
         {
           if(strstr((char *)resp, "stop_server=0"))
           {
             stopserver = false;
           }
           else if(strstr((char *)resp, "stop_server=1"))
           {
             stopserver = true;
           }
         }
         //temp = (int) BSP_TSENSOR_ReadTemp();
         //if(SendWebPage(LedState, temp) != WIFI_STATUS_OK)
         if(SendWebPageUpdate(state) != WIFI_STATUS_OK)
         {
           LOG(("> ERROR : Cannot send web page\n"));
         }
         else
         {
           LOG(("Send Page after POST command\n"));
         }
       }
     }
  }
  else
  {
    LOG(("Client close connection\n"));
  }
  return stopserver;

 }

static bool WebServerProcessUpdate(void)
{
  uint8_t temp;
  uint16_t  respLen;
  static   uint8_t resp[1024];
  uint16_t sentDataLen;
  uint16_t sendWordLen;
  static uint8_t sendWord[1024];
  bool    stopserver=false;

		  if(SendWebPageUpdate(state) != WIFI_STATUS_OK)
		  {
			  LOG(("> ERROR : Cannot send web page\n"));
		  }
		  else
		  {
			  LOG(("Sent page after command\n"));
		  }

  return stopserver;

 }

/**
  * @brief  Send HTML page
  * @param  None
  * @retval None
  */
static WIFI_Status_t SendWebPage(uint8_t ledIsOn, uint8_t temperature)
{
  uint8_t  temp[50];
  uint16_t SentDataLength;
  WIFI_Status_t ret;

  /* construct web page content */
  strcpy((char *)http, (char *)"HTTP/1.0 200 OK\r\nContent-Type: text/html\r\nPragma: no-cache\r\n\r\n");
  strcat((char *)http, (char *)"<html>\r\n<body>\r\n");
  strcat((char *)http, (char *)"<title>STM32 Web Server</title>\r\n");
  strcat((char *)http, (char *)"<h2>InventekSys : Web Server using Es-Wifi with STM32</h2>\r\n");
  strcat((char *)http, (char *)"<br /><hr>\r\n");
  strcat((char *)http, (char *)"<p><form method=\"POST\"><strong>Temp: <input type=\"text\" value=\"");
  sprintf((char *)temp, "%d", temperature);
  strcat((char *)http, (char *)temp);
  strcat((char *)http, (char *)"\"> <sup>O</sup>C");

  if (ledIsOn)
  {
    strcat((char *)http, (char *)"<p><input type=\"radio\" name=\"radio\" value=\"0\" >RSG LED off");
    strcat((char *)http, (char *)"<br><input type=\"radio\" name=\"radio\" value=\"1\" checked>RSG LED on");
  }
  else
  {
    strcat((char *)http, (char *)"<p><input type=\"radio\" name=\"radio\" value=\"0\" checked>RSG LED off");
    strcat((char *)http, (char *)"<br><input type=\"radio\" name=\"radio\" value=\"1\" >RSG LED on");
  }

  strcat((char *)http, (char *)"</strong><p><input type=\"submit\"></form></span>");
  strcat((char *)http, (char *)"</body>\r\n</html>\r\n");

  ret = WIFI_SendData(0, (uint8_t *)http, strlen((char *)http), &SentDataLength, WIFI_WRITE_TIMEOUT);

  if((ret == WIFI_STATUS_OK) && (SentDataLength != strlen((char *)http)))
  {
    ret = WIFI_STATUS_ERROR;
  }

  return ret;
}

static WIFI_Status_t SendWebPageUpdate(State myState)
{
	uint16_t SentDataLength;
	WIFI_Status_t ret;
	const char *tempState = stateToString(myState);
	memset(http, 0, sizeof(http));

	strcpy((char *)http, (char *)"HTTP/1.0 200 OK\r\nContent-Type: text/html\r\nPragma: no-cache\r\n\r\n");
	strcat((char *)http, (char *)"<html>\r\n<body>\r\n");
	strcat((char *)http, (char *)"<title>STM32 Web Server</title>\r\n");
	strcat((char *)http, (char *)"<h2>InventekSys : Web Server using Es-Wifi with STM32</h2>\r\n");
	strcat((char *)http, (char *)"<br /><hr>\r\n");
	strcat((char *)http, (char *)tempState);
	printf("Calling web page update...\n");
	ret = WIFI_SendData(0, (uint8_t *)http, strlen((char *)http), &SentDataLength, WIFI_WRITE_TIMEOUT);
	if((ret == WIFI_STATUS_OK) && (SentDataLength != strlen((char *)http)))
	{
		ret = WIFI_STATUS_ERROR;
	}
	printf("Web page update successful!...\n");
	return ret;
}

#if defined (TERMINAL_USE)
/**
  * @brief  Retargets the C library printf function to the USART.
  * @param  None
  * @retval None
  */
PUTCHAR_PROTOTYPE
{
  /* Place your implementation of fputc here */
  /* e.g. write a character to the USART1 and Loop until the end of transmission */
  HAL_UART_Transmit(&huart1, (uint8_t *)&ch, 1, 0xFFFF);

  return ch;
}
#endif /* TERMINAL_USE */

#ifdef USE_FULL_ASSERT

/**
   * @brief Reports the name of the source file and the source line number
   * where the assert_param error has occurred.
   * @param file: pointer to the source file name
   * @param line: assert_param error line source number
   * @retval None
   */
void assert_failed(uint8_t* file, uint32_t line)
{
  /* USER CODE BEGIN 6 */
  /* User can add his own implementation to report the file name and line number,
    ex: printf("Wrong parameters value: file %s on line %d\r\n", file, line) */
  /* USER CODE END 6 */

}

#endif

void SPI3_IRQHandler(void)
{
  /* USER CODE BEGIN SPI3_IRQn 0 */
//
  /* USER CODE END SPI3_IRQn 0 */
  HAL_SPI_IRQHandler(&hspi);
  /* USER CODE BEGIN SPI3_IRQn 1 */
//
  /* USER CODE END SPI3_IRQn 1 */
}

static int ReadAccelero()
{
	int last_x = 0;
	int last_y = 0;
	int last_z = 0;
	int moveCount = 0;
	char *LocalModelSet[REPS];

	for (int i = 0; i < REPS; i++) {
		LocalModelSet[i] = (char*)malloc(10 * sizeof(char));  // Allocate memory for each string
		for (int j = 0; j < i; j++) {
			free(LocalModelSet[j]);
		}
	}

	BSP_ACCELERO_AccGetXYZ(pDataXYZ);
	if (accStatus != ACCELERO_ERROR) {
		last_x = pDataXYZ[0];
		last_y = pDataXYZ[1];
		last_z = pDataXYZ[2];
	}
	for (int i = 0; i < REPS; i++) {
		BSP_ACCELERO_AccGetXYZ(pDataXYZ);
		if (accStatus != ACCELERO_ERROR) {
			x = pDataXYZ[0];
			y = pDataXYZ[1];
			z = pDataXYZ[2];
		}
		//printf("Initial Values - X: %d, Y: %d, Z: %d\n", last_x, last_y, last_z);
		if (abs(x-last_x) <= TOLERANCE && abs(y-last_y) <= TOLERANCE && abs(z-last_z) <= TOLERANCE) {
			strcpy(LocalModelSet[i],"STATIONARY");
		}
		else {
			strcpy(LocalModelSet[i],"MOVING");
			printf("Printing Model Set: ");
			printf("%s\n", LocalModelSet[i]);
			moveCount++;
		}
		//printf("Iteration %d - X: %d, Y: %d, Z: %d\n", i, x, y, z);
		last_x = x;
		last_y = y;
		last_z = z;
		HAL_Delay(10);
	}
	for (int i = 0; i < REPS; i++) {
		free(LocalModelSet[i]);
	}
	return moveCount;
}

/* USER CODE END 4 */

void StartDefaultTask(void *argument)
{
  /* USER CODE BEGIN 5 */
  /* Infinite loop */
	for(;;)
	  {
		  uint8_t buffer[40] = "Starting wifi in default task";
		  printf("Starting wifi in default task\n");
		  HAL_UART_Transmit(&huart1, buffer, sizeof(buffer), 100);
		  wifi_server();
		  osDelay(1000);
	  }

  /* USER CODE END 5 */
}

void vHandlerTask(void *argument)
{
  /* USER CODE BEGIN vHandlerTask */
	uint16_t receivedData;
  /* Infinite loop */
	for( ;; ){
		printf("Waiting for semaphore...\n");
		if (osSemaphoreAcquire(mySem01Handle, osWaitForever) == osOK) {
			printf("Semaphore acquired!\n");
			printf("Handler Function before UART...\n");
		/* This is reached only after event has occurred. Process event */
			uint8_t Test[] = "In ISR\n Pushbutton pressed\n"; //Data to send
			HAL_UART_Transmit(&huart1,Test,sizeof(Test),10);//Using HAL library function
			printf("Handler Function...\n");
			ToggleState(0);
		} else {
			printf("Failed to acquire semaphore\n");
		}
		osDelay(1);
	}
  /* USER CODE END vHandlerTask */
}

void StartArmed(void *argument)
{
  /* USER CODE BEGIN StartArmed */
	uint32_t ulVar = 10;
	MsgQueue msg;
	msg.Buf[0] = 0x55U;
	msg.Idx    = 0U;
  /* Infinite loop */
  for(;;)
  {
	  osThreadFlagsWait(0x0001, osFlagsWaitAll, osWaitForever);
	  printf("In armed state\n");
	  while (state == ARMED) {
		  if (ReadAccelero() >= 3) {
			  ToggleState(1);
			  osMessageQueuePut(StateQueueHandle, &msg, 0U, 0U);
			  osThreadYield();
		  }
		  osDelay(1);
	  }
	  osDelay(1);
  }
  /* USER CODE END StartArmed */
}

void StartAlarm(void *argument)
{
  /* USER CODE BEGIN StartAlarm */
	uint8_t user_code[5]; // Buffer for 4-digit code plus null terminator
	bool update = false;
	uint32_t ulVar;
	MsgQueue msg;
  /* Infinite loop */
  for(;;)
  {
	  if (osMessageQueueGet(StateQueueHandle, &msg, NULL, 0U) == osOK){
		  for (int i = 0; i < 5; i ++) {
			  HAL_Delay(50);
			  printf("Enter 4-digit code:\r\n");
			  HAL_StatusTypeDef rec = HAL_UART_Receive(&huart1, user_code, sizeof(user_code) - 1, HAL_MAX_DELAY);
			  if (rec == HAL_OK)
			  {
				  user_code[4] = '\0'; // Ensure null-termination
				  if (strcmp((char *)user_code, CORRECT_CODE) == 0)
				  {
					  printf("Code correct! System resumes normal operation.\n");
					  ToggleState(0);
					  osThreadYield();
					  break;
				  }
				  else
				  {
					  printf("Incorrect code!\n");
					  if (i == 4) {
						  printf("Calling Police \n");
						  ToggleState(1);
					  }
				  }
			  }
			  else
			  {
				  printf("UART receive error. Assuming incorrect code.\n");
			  }
			  osDelay(40);
		  }
	  }
	  osDelay(1);
  }
  /* USER CODE END StartAlarm */
}

void HAL_TIM_PeriodElapsedCallback(TIM_HandleTypeDef *htim)
{
  if (htim->Instance == TIM6) {
    HAL_IncTick();
  }
  /* USER CODE BEGIN Callback 1 */
  if (htim->Instance == TIM16) {
	  if (state == DISARMED) {
		  HAL_GPIO_WritePin(GPIOB, GPIO_PIN_14, 0);
	  }
	  else if (state == ARMED) {
		  HAL_GPIO_WritePin(GPIOB, GPIO_PIN_14, 1);
	  }
	  else if (state == ALARM) {
		  HAL_GPIO_TogglePin(GPIOB, GPIO_PIN_14);
	  }
	  else if (state == SIREN) {
		  HAL_GPIO_TogglePin(GPIOC, GPIO_PIN_9);
	  }
	  //printf("HAL_TIM Function...\n");
  }
  /* USER CODE END Callback 1 */
}

void Error_Handler(void)
{
  __disable_irq();
  while (1)
  {
  }
}
